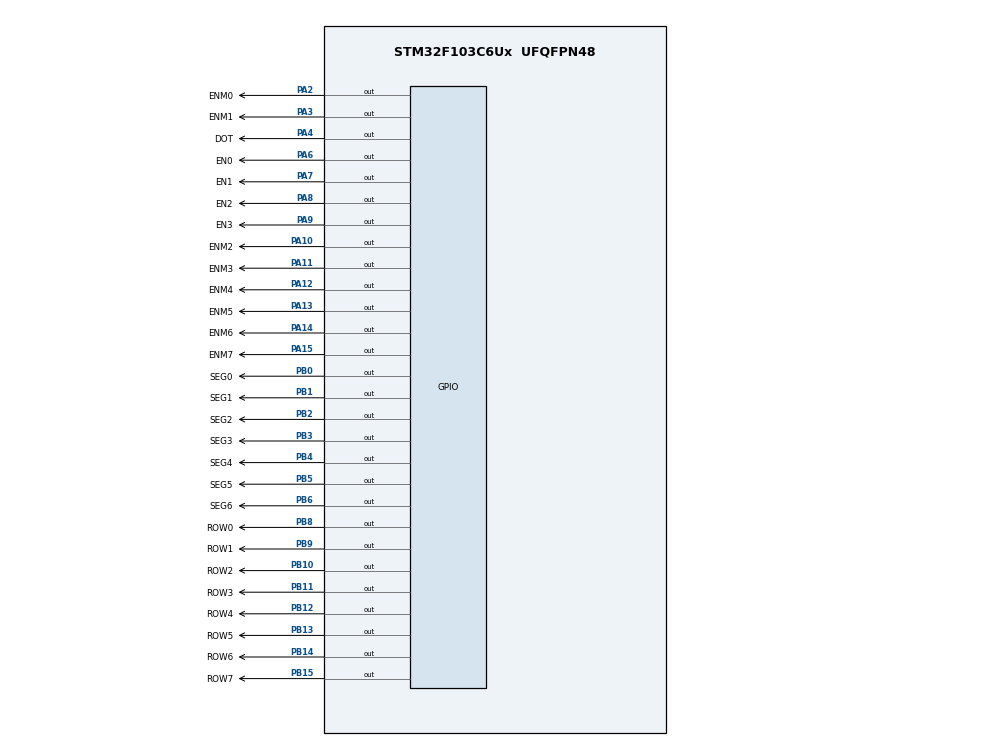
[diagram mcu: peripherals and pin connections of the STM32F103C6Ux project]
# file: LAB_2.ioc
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Mcu.Family=STM32F1
Mcu.Name=STM32F103C6Ux
Mcu.Package=UFQFPN48
NVIC.PriorityGroup=NVIC_PRIORITYGROUP_4
NVIC.TIM2_IRQn=true\:0\:0\:false\:false\:true\:true\:true
PA10.GPIO_Label=ENM2
PA10.Signal=GPIO_Output
PA11.GPIO_Label=ENM3
PA11.Signal=GPIO_Output
PA12.GPIO_Label=ENM4
PA12.Signal=GPIO_Output
PA13.GPIO_Label=ENM5
PA13.Signal=GPIO_Output
PA14.GPIO_Label=ENM6
PA14.Signal=GPIO_Output
PA15.GPIO_Label=ENM7
PA15.Signal=GPIO_Output
PA2.GPIO_Label=ENM0
PA2.Signal=GPIO_Output
PA3.GPIO_Label=ENM1
PA3.Signal=GPIO_Output
PA4.GPIO_Label=DOT
PA4.Signal=GPIO_Output
PA6.GPIO_Label=EN0
PA6.Signal=GPIO_Output
PA7.GPIO_Label=EN1
PA7.Signal=GPIO_Output
PA8.GPIO_Label=EN2
PA8.Signal=GPIO_Output
PA9.GPIO_Label=EN3
PA9.Signal=GPIO_Output
PB0.GPIO_Label=SEG0
PB0.Signal=GPIO_Output
PB1.GPIO_Label=SEG1
PB1.Signal=GPIO_Output
PB10.GPIO_Label=ROW2
PB10.Signal=GPIO_Output
PB11.GPIO_Label=ROW3
PB11.Signal=GPIO_Output
PB12.GPIO_Label=ROW4
PB12.Signal=GPIO_Output
PB13.GPIO_Label=ROW5
PB13.Signal=GPIO_Output
PB14.GPIO_Label=ROW6
PB14.Signal=GPIO_Output
PB15.GPIO_Label=ROW7
PB15.Signal=GPIO_Output
PB2.GPIO_Label=SEG2
PB2.Signal=GPIO_Output
PB3.GPIO_Label=SEG3
PB3.Signal=GPIO_Output
PB4.GPIO_Label=SEG4
PB4.Signal=GPIO_Output
PB5.GPIO_Label=SEG5
PB5.Signal=GPIO_Output
PB6.GPIO_Label=SEG6
PB6.Signal=GPIO_Output
PB8.GPIO_Label=ROW0
PB8.Signal=GPIO_Output
PB9.GPIO_Label=ROW1
PB9.Signal=GPIO_Output
ProjectManager.HeapSize=0x200
ProjectManager.StackSize=0x400
ProjectManager.TargetToolchain=STM32CubeIDE
RCC.APB1Freq_Value=8000000
RCC.APB2Freq_Value=8000000
TIM2.Period=9
TIM2.Prescaler=7999
VP_SYS_VS_ND.Mode=No_Debug
VP_TIM2_VS_ClockSourceINT.Mode=Internal
board=custom

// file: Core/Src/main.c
/* USER CODE BEGIN Header */
/**
  ******************************************************************************
  * @file           : main.c
  * @brief          : Main program body
  ******************************************************************************
  * @attention
  *
  * <h2><center>&copy; Copyright (c) 2024 STMicroelectronics.
  * All rights reserved.</center></h2>
  *
  * This software component is licensed by ST under BSD 3-Clause license,
  * the "License"; You may not use this file except in compliance with the
  * License. You may obtain a copy of the License at:
  *                        opensource.org/licenses/BSD-3-Clause
  *
  ******************************************************************************
  */
/* USER CODE END Header */
#include "main.h"

#include "Exc5-8.h"
#include "timer.h"
/* USER CODE END Includes */

TIM_HandleTypeDef htim2;

void SystemClock_Config(void);
static void MX_GPIO_Init(void);
static void MX_TIM2_Init(void);

int main(void)
{

  /* MCU Configuration--------------------------------------------------------*/

  /* Reset of all peripherals, Initializes the Flash interface and the Systick. */
  HAL_Init();

  /* Configure the system clock */
  SystemClock_Config();

  /* Initialize all configured peripherals */
  MX_GPIO_Init();
  MX_TIM2_Init();
  /* USER CODE BEGIN 2 */
  HAL_TIM_Base_Start_IT (& htim2 ) ;
  /* USER CODE END 2 */

  /* Infinite loop */
  /* USER CODE BEGIN WHILE */
  Exc_init();
  setTimer(0,500);
  setTimer(1,500);
  setTimer(2,500);
  int index = 0;
  int hour = 15, minute = 8, second = 50;
  while (1)
  {
	  if (timer_flag[0] == 1) {
		  setTimer(0,1000);
		  second++;
		  if (second >= 60) {
			  second = 0;
			  minute++;
		  }
		  if (minute >= 60) {
			  minute = 0;
			  hour++;
		  }
		  if (hour >= 24) {
			  hour = 0;
		  }
	  }
	  if (timer_flag[2] == 1) {
		  setTimer(2,250);
		  updateClockBuffer(hour, minute);
		  update7SEG(index++);
		  index = index >= 4 ? 0 : index;
	  }
	  if (timer_flag[1] == 1) {
		  setTimer(1,1000);
		  DOT_run();
	  }
    /* USER CODE END WHILE */

  }
}

void SystemClock_Config(void)
{
  RCC_OscInitTypeDef RCC_OscInitStruct = {0};
  RCC_ClkInitTypeDef RCC_ClkInitStruct = {0};

  /** Initializes the RCC Oscillators according to the specified parameters
  * in the RCC_OscInitTypeDef structure.
  */
  RCC_OscInitStruct.OscillatorType = RCC_OSCILLATORTYPE_HSI;
  RCC_OscInitStruct.HSIState = RCC_HSI_ON;
  RCC_OscInitStruct.HSICalibrationValue = RCC_HSICALIBRATION_DEFAULT;
  RCC_OscInitStruct.PLL.PLLState = RCC_PLL_NONE;
  if (HAL_RCC_OscConfig(&RCC_OscInitStruct) != HAL_OK)
  {
    Error_Handler();
  }
  /** Initializes the CPU, AHB and APB buses clocks
  */
  RCC_ClkInitStruct.ClockType = RCC_CLOCKTYPE_HCLK|RCC_CLOCKTYPE_SYSCLK
                              |RCC_CLOCKTYPE_PCLK1|RCC_CLOCKTYPE_PCLK2;
  RCC_ClkInitStruct.SYSCLKSource = RCC_SYSCLKSOURCE_HSI;
  RCC_ClkInitStruct.AHBCLKDivider = RCC_SYSCLK_DIV1;
  RCC_ClkInitStruct.APB1CLKDivider = RCC_HCLK_DIV1;
  RCC_ClkInitStruct.APB2CLKDivider = RCC_HCLK_DIV1;

  if (HAL_RCC_ClockConfig(&RCC_ClkInitStruct, FLASH_LATENCY_0) != HAL_OK)
  {
    Error_Handler();
  }
}

static void MX_TIM2_Init(void)
{

  TIM_ClockConfigTypeDef sClockSourceConfig = {0};
  TIM_MasterConfigTypeDef sMasterConfig = {0};

  htim2.Instance = TIM2;
  htim2.Init.Prescaler = 7999;
  htim2.Init.CounterMode = TIM_COUNTERMODE_UP;
  htim2.Init.Period = 9;
  htim2.Init.ClockDivision = TIM_CLOCKDIVISION_DIV1;
  htim2.Init.AutoReloadPreload = TIM_AUTORELOAD_PRELOAD_DISABLE;
  if (HAL_TIM_Base_Init(&htim2) != HAL_OK)
  {
    Error_Handler();
  }
  sClockSourceConfig.ClockSource = TIM_CLOCKSOURCE_INTERNAL;
  if (HAL_TIM_ConfigClockSource(&htim2, &sClockSourceConfig) != HAL_OK)
  {
    Error_Handler();
  }
  sMasterConfig.MasterOutputTrigger = TIM_TRGO_RESET;
  sMasterConfig.MasterSlaveMode = TIM_MASTERSLAVEMODE_DISABLE;
  if (HAL_TIMEx_MasterConfigSynchronization(&htim2, &sMasterConfig) != HAL_OK)
  {
    Error_Handler();
  }

}

static void MX_GPIO_Init(void)
{
  GPIO_InitTypeDef GPIO_InitStruct = {0};

  /* GPIO Ports Clock Enable */
  __HAL_RCC_GPIOA_CLK_ENABLE();
  __HAL_RCC_GPIOB_CLK_ENABLE();

  /*Configure GPIO pin Output Level */
  HAL_GPIO_WritePin(GPIOA, DOT_Pin|EN0_Pin|EN1_Pin|EN2_Pin
                          |EN3_Pin, GPIO_PIN_RESET);

  /*Configure GPIO pin Output Level */
  HAL_GPIO_WritePin(GPIOB, SEG0_Pin|SEG1_Pin|SEG2_Pin|SEG3_Pin
                          |SEG4_Pin|SEG5_Pin|SEG6_Pin, GPIO_PIN_RESET);

  /*Configure GPIO pins : DOT_Pin EN0_Pin EN1_Pin EN2_Pin
                           EN3_Pin */
  GPIO_InitStruct.Pin = DOT_Pin|EN0_Pin|EN1_Pin|EN2_Pin
                          |EN3_Pin;
  GPIO_InitStruct.Mode = GPIO_MODE_OUTPUT_PP;
  GPIO_InitStruct.Pull = GPIO_NOPULL;
  GPIO_InitStruct.Speed = GPIO_SPEED_FREQ_LOW;
  HAL_GPIO_Init(GPIOA, &GPIO_InitStruct);

  /*Configure GPIO pins : SEG0_Pin SEG1_Pin SEG2_Pin SEG3_Pin
                           SEG4_Pin SEG5_Pin SEG6_Pin */
  GPIO_InitStruct.Pin = SEG0_Pin|SEG1_Pin|SEG2_Pin|SEG3_Pin
                          |SEG4_Pin|SEG5_Pin|SEG6_Pin;
  GPIO_InitStruct.Mode = GPIO_MODE_OUTPUT_PP;
  GPIO_InitStruct.Pull = GPIO_NOPULL;
  GPIO_InitStruct.Speed = GPIO_SPEED_FREQ_LOW;
  HAL_GPIO_Init(GPIOB, &GPIO_InitStruct);

}

/* USER CODE BEGIN 4 */
void HAL_TIM_PeriodElapsedCallback ( TIM_HandleTypeDef * htim ) {
	timer_run();
}

/* USER CODE END 4 */

void Error_Handler(void)
{
  __disable_irq();
  while (1)
  {
  }
}

/************************ (C) COPYRIGHT STMicroelectronics *****END OF FILE****/
